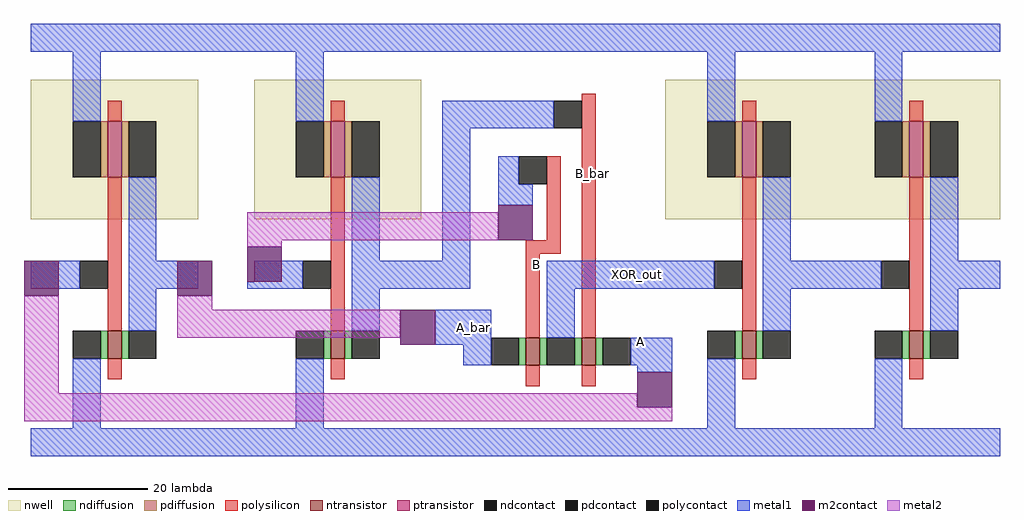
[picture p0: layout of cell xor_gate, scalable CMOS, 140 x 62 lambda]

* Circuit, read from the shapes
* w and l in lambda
.subckt xor_gate A A_bar B B_bar XOR_out gnd vdd
M1 A_bar A gnd VSUBS nfet w=4 l=2
M2 B_bar B gnd VSUBS nfet w=4 l=2
M3 XOR_out B A_bar VSUBS nfet w=4 l=2
M4 A B_bar XOR_out VSUBS nfet w=4 l=2
M5 inverter_3/INP XOR_out gnd VSUBS nfet w=4 l=2
M6 inverter_3/Inv_out inverter_3/INP gnd VSUBS nfet w=4 l=2
M7 A_bar A vdd n1 pfet w=8 l=2
M8 B_bar B vdd n2 pfet w=8 l=2
M9 inverter_3/INP XOR_out vdd n3 pfet w=8 l=2
M10 inverter_3/Inv_out inverter_3/INP vdd n3 pfet w=8 l=2
.ends

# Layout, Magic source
magic
tech scmos
<< ntransistor >>
rect 71 13 73 17
rect 79 13 81 17
<< ndiffusion >>
rect 70 13 71 17
rect 73 13 74 17
rect 78 13 79 17
rect 81 13 82 17
<< ndcontact >>
rect 66 13 70 17
rect 74 13 78 17
rect 82 13 86 17
<< polysilicon >>
rect 74 31 76 43
rect 71 29 76 31
rect 71 17 73 29
rect 79 17 81 52
rect 71 10 73 13
rect 79 10 81 13
<< polycontact >>
rect 75 47 79 51
rect 70 39 74 43
<< metal1 >>
rect 24 58 32 62
rect 56 58 91 62
rect 59 47 75 51
rect 59 28 63 47
rect 67 39 70 43
rect 67 36 72 39
rect 31 24 32 25
rect 56 24 63 28
rect 74 24 91 28
rect 58 16 66 21
rect 74 17 78 24
rect 62 13 66 16
rect 86 13 92 17
rect 87 12 92 13
rect 24 0 32 4
rect 56 0 91 4
<< m2contact >>
rect -1 23 4 28
rect 21 23 26 28
rect 31 25 36 30
rect 67 31 72 36
rect 53 16 58 21
rect 87 7 92 12
<< metal2 >>
rect 31 31 67 35
rect 31 30 36 31
rect -1 9 4 23
rect 21 21 26 23
rect 21 17 53 21
rect -1 7 87 9
rect -1 5 92 7
use inverter  inverter_0
transform 1 0 0 0 1 34
box 0 -34 24 28
use inverter  inverter_1
transform 1 0 32 0 1 34
box 0 -34 24 28
use inverter  inverter_2
transform 1 0 91 0 1 34
box 0 -34 24 28
use inverter  inverter_3
transform 1 0 115 0 1 34
box 0 -34 24 28
<< labels >>
rlabel metal1 86 24 88 28 7 XOR_out
rlabel polysilicon 72 27 73 28 1 B
rlabel polysilicon 80 40 81 41 1 B_bar
rlabel metal1 87 16 88 17 1 A
rlabel metal1 63 18 64 19 1 A_bar
<< end >>

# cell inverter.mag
magic
tech scmos
<< nwell >>
rect 0 0 24 20
<< ntransistor >>
rect 11 -20 13 -16
<< ptransistor >>
rect 11 6 13 14
<< ndiffusion >>
rect 10 -20 11 -16
rect 13 -20 14 -16
<< pdiffusion >>
rect 10 6 11 14
rect 13 6 14 14
<< ndcontact >>
rect 6 -20 10 -16
rect 14 -20 18 -16
<< pdcontact >>
rect 6 6 10 14
rect 14 6 18 14
<< polysilicon >>
rect 11 14 13 17
rect 11 -16 13 6
rect 11 -23 13 -20
<< polycontact >>
rect 7 -10 11 -6
<< metal1 >>
rect 0 24 24 28
rect 6 14 10 24
rect 14 -6 18 6
rect 0 -10 7 -6
rect 14 -10 24 -6
rect 14 -16 18 -10
rect 6 -30 10 -20
rect 0 -34 24 -30
<< labels >>
rlabel metal1 3 -9 4 -8 3 INP
rlabel metal1 14 -31 15 -30 1 gnd
rlabel metal1 13 25 14 26 5 vdd
rlabel metal1 17 -9 18 -8 1 Inv_out
<< end >>
